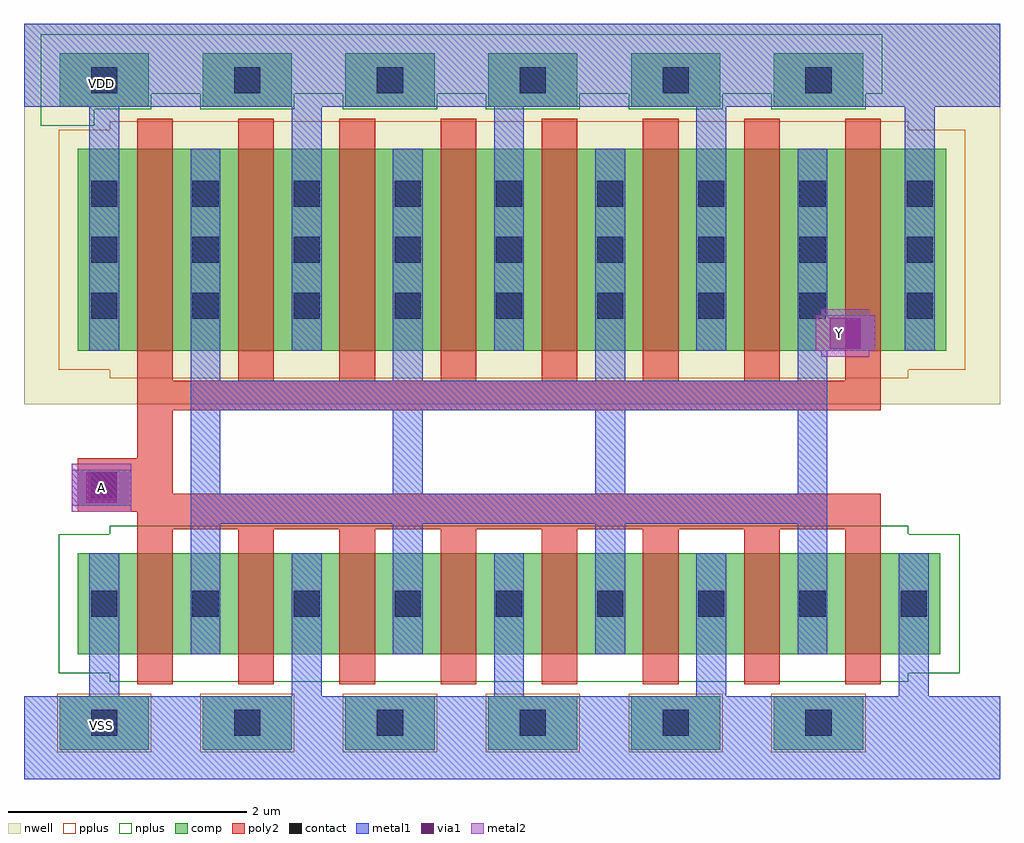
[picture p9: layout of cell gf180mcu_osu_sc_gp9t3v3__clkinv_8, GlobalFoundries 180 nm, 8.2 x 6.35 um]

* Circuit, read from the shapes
.subckt gf180mcu_osu_sc_gp9t3v3__clkinv_8 A VDD VSS Y
XM1 Y A VSS VSS nfet_03v3 w=0.85u l=0.3u m=8
XM2 Y A VDD VDD pfet_03v3 w=1.7u l=0.3u m=8
.ends

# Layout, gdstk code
import gdstk
lib = gdstk.Library(unit=1e-6, precision=1e-09)
def R(c, l, rs):  # rectangles x0, y0, x1, y1
    for r in rs: c.add(gdstk.rectangle(r[:2], r[2:], *l))
def A(c, l, x, y, w, h, nx, ny, dx, dy):  # array of equal rectangles
    R(c, l, [(x+i*dx, y+j*dy, x+i*dx+w, y+j*dy+h) for i in range(nx) for j in range(ny)])
nwell = (21, 0)
comp = (22, 0)
poly2 = (30, 0)
pplus = (31, 0)
nplus = (32, 0)
contact = (33, 0)
metal1 = (34, 0)
via1 = (35, 0)
metal2 = (36, 0)

gf180mcu_osu_sc_gp9t3v3_ = lib.new_cell('gf180mcu_osu_sc_gp9t3v3__clkinv_8')
R(gf180mcu_osu_sc_gp9t3v3_, nwell, [(0,3.15,8.2,6.35)])
A(gf180mcu_osu_sc_gp9t3v3_, comp, 0.3, 0.25, 0.75, 0.45, 6, 2, 1.2, 5.4)
R(gf180mcu_osu_sc_gp9t3v3_, comp, [(0.45,1.05,7.7,1.9), (0.45,3.6,7.75,5.3)])
A(gf180mcu_osu_sc_gp9t3v3_, poly2, 0.95, 0.8, 0.3, 1.3, 8, 1, 0.85, 0)
A(gf180mcu_osu_sc_gp9t3v3_, poly2, 0.95, 3.35, 0.3, 2.2, 8, 1, 0.85, 0)
R(gf180mcu_osu_sc_gp9t3v3_, poly2, [(0.95,2.1,7.2,2.25), (0.45,2.25,7.2,2.4), (0.45,2.4,1.25,2.7), (0.95,2.7,1.25,3.1), (0.95,3.1,7.2,3.35)])
A(gf180mcu_osu_sc_gp9t3v3_, pplus, 0.28, 0.23, 0.79, 0.49, 6, 1, 1.2, 0)
R(gf180mcu_osu_sc_gp9t3v3_, pplus, [(0.72,3.37,7.43,3.44), (0.29,3.44,7.91,5.46), (0.72,5.46,7.43,5.53)])
A(gf180mcu_osu_sc_gp9t3v3_, nplus, 1.48, 5.63, 0.79, 0.13, 5, 1, 1.2, 0)
R(gf180mcu_osu_sc_gp9t3v3_, nplus, [(0.72,0.82,7.43,0.89), (0.29,0.89,7.86,2.06), (0.72,2.06,7.43,2.13), (0.14,5.49,0.59,5.63), (0.14,5.63,1.07,5.76), (0.14,5.76,7.21,6.26)])
A(gf180mcu_osu_sc_gp9t3v3_, contact, 0.565, 0.365, 0.22, 0.22, 6, 2, 1.2, 5.4)
A(gf180mcu_osu_sc_gp9t3v3_, contact, 0.565, 1.365, 0.22, 0.22, 9, 1, 0.85, 0)
A(gf180mcu_osu_sc_gp9t3v3_, contact, 0.565, 3.87, 0.22, 0.22, 8, 3, 0.85, 0.47)
A(gf180mcu_osu_sc_gp9t3v3_, contact, 7.415, 3.87, 0.22, 0.22, 1, 3, 0, 0.47)
R(gf180mcu_osu_sc_gp9t3v3_, contact, [(0.565,2.365,0.785,2.585)])
A(gf180mcu_osu_sc_gp9t3v3_, metal1, 0.55, 0.7, 0.25, 1.2, 5, 1, 1.7, 0)
A(gf180mcu_osu_sc_gp9t3v3_, metal1, 1.4, 1.05, 0.25, 1.1, 4, 1, 1.7, 0)
A(gf180mcu_osu_sc_gp9t3v3_, metal1, 1.4, 2.4, 0.25, 0.7, 4, 1, 1.7, 0)
A(gf180mcu_osu_sc_gp9t3v3_, metal1, 1.4, 3.35, 0.25, 1.95, 3, 1, 1.7, 0)
A(gf180mcu_osu_sc_gp9t3v3_, metal1, 0.55, 3.6, 0.25, 2.05, 4, 1, 1.7, 0)
R(gf180mcu_osu_sc_gp9t3v3_, metal1, [(0,0,8.2,0.7), (1.4,2.15,6.75,2.4), (0.4,2.3,0.9,2.6), (1.4,3.1,6.75,3.35), (6.5,3.35,6.75,3.6), (6.5,3.6,7.15,3.9), (7.4,3.6,7.65,5.65), (6.5,3.9,6.75,5.3), (0,5.65,8.2,6.35)])
R(gf180mcu_osu_sc_gp9t3v3_, via1, [(0.52,2.32,0.78,2.58), (6.77,3.62,7.03,3.88)])
R(gf180mcu_osu_sc_gp9t3v3_, metal2, [(0.4,2.25,0.9,2.65), (6.7,3.55,7.1,3.6), (6.65,3.6,7.15,3.9), (6.7,3.9,7.1,3.95)])
gf180mcu_osu_sc_gp9t3v3_.add(gdstk.Label('VDD', (0.65,5.85), layer=34, texttype=10))
gf180mcu_osu_sc_gp9t3v3_.add(gdstk.Label('VSS', (0.65,0.45), layer=34, texttype=10))
gf180mcu_osu_sc_gp9t3v3_.add(gdstk.Label('A', (0.65,2.45), layer=36, texttype=10))
gf180mcu_osu_sc_gp9t3v3_.add(gdstk.Label('Y', (6.85,3.75), layer=36, texttype=10))

lib.write_gds('gf180mcu_osu_sc_gp9t3v3__clkinv_8.gds')
